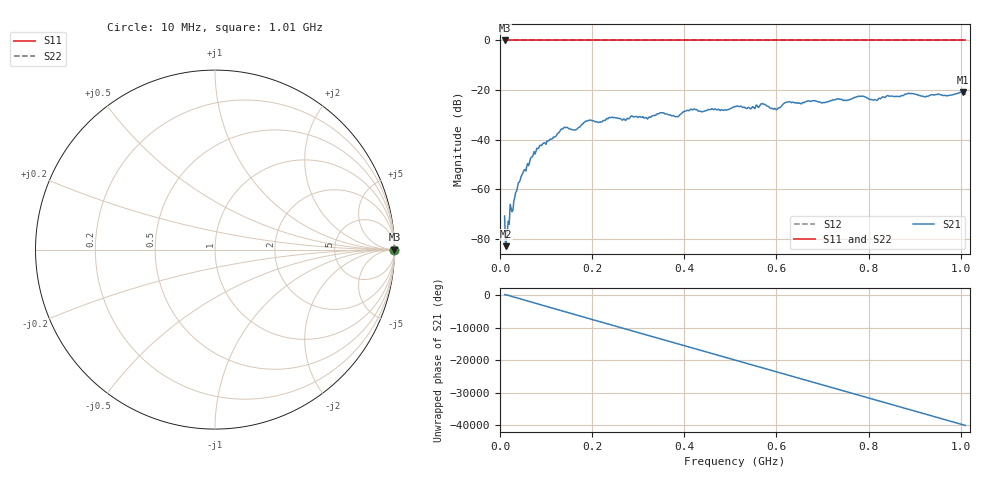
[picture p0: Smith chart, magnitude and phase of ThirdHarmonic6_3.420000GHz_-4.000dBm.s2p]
! 8/17/2025 10:58:14 AM
! C:\ANRITSUVNA\TEMP\TEMP.S2P
! CHANNEL.1
! TR.MEASUREMENT
! RAW.DATA
! RF.CORRECTION.OFF
! AVERAGING.OFF
! IF.BANDWIDTH: 5KHZ
! SWEEPTYPE:  FREQ.SWEEP(Linear)
! Reference Plane Port Info
! PORT:  PORT1  PORT2
! DISTANCE:  0  m  0  m
! TIME:  0  s  0  s
! PHASE.OFFSET:  0  deg.  0  deg.
! LOSS:  0  dB  0  dB
! REF.LOSS:  0  dB  0  dB
! REF.FREQ:  0  Hz  0  Hz
! Power Info
! POWER:  -20  dBm  -20  dBm
! EFF.POWER:  -20  dBm  -20  dBm
! SOURCE.ATTEN:  0  dB  0  dB
! TEST.ATTEN:  0  dB  0  dB
# GHZ S RI R 50.0
! FREQ.GHZ  S11RE  S11IM  S21RE  S21IM  S12RE  S12IM  S22RE  S22IM
!; PortSelection: Port_12
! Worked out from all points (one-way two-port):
!   501 points, 10 MHz to 1.01 GHz, reference 50 ohm
!   highest |S21| = -20.88 dB at 1.004 GHz (marker M1); lowest = -83.0 dB at 12 MHz (marker M2)
!   lowest |S11| = 0.0 dB at 10 MHz (marker M3)
!   |S11| at or under -10 dB: nowhere
!   |S22| runs from 0.0 to 0.0 dB; largest |S21 - S12| = 1.1
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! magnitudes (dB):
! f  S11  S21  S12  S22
! 10 MHz  0.0  -70.9  0.0  0.0
! 12 MHz  0.0  -83.0  0.0  0.0
! 16 MHz  0.0  -76.5  0.0  0.0
! 20 MHz  0.0  -74.2  0.0  0.0
! 44 MHz  0.0  -56.3  0.0  0.0
! 78 MHz  0.0  -44.8  0.0  0.0
! 136 MHz  0.0  -35.7  0.0  0.0
! 162 MHz  0.0  -36.1  0.0  0.0
! 178 MHz  0.0  -33.8  0.0  0.0
! 194 MHz  0.0  -32.2  0.0  0.0
! 318 MHz  0.0  -31.3  0.0  0.0
! 344 MHz  0.0  -29.7  0.0  0.0
! 384 MHz  0.0  -30.7  0.0  0.0
! 418 MHz  0.0  -28.0  0.0  0.0
! 510 MHz  0.0  -26.7  0.0  0.0
! 570 MHz  0.0  -25.5  0.0  0.0
! 598 MHz  0.0  -27.6  0.0  0.0
! 624 MHz  0.0  -24.8  0.0  0.0
! 678 MHz  0.0  -24.3  0.0  0.0
! 844 MHz  0.0  -22.4  0.0  0.0
! 1.004 GHz  0.0  -20.9  0.0  0.0
! 1.01 GHz  0.0  -21.6  0.0  0.0
